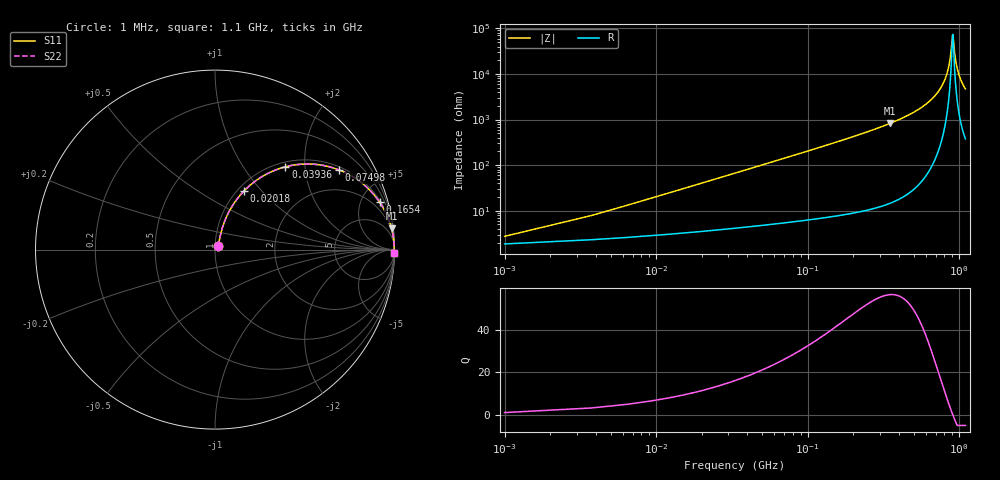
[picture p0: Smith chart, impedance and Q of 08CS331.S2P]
! Coilcraft 0805CS-331 Chip Inductor
! 11 June 2002
# MHZ S MA R 50
!Freq  MagS11  AngS11  MagS21  AngS21  MagS12  AngS12  MagS22  AngS22
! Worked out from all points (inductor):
!   403 points, 1 MHz to 1.1 GHz, reference 50 ohm
!   read as one part in series: L = 320 nH near 6.48 MHz
!   highest Q = 56.7 at 351.7 MHz (marker M1), where L = 376 nH
!   self-resonance near 907.9 MHz
!   S11 on the Smith chart (normalised r, x): 1 MHz: 1.04, +0.04; 20.18 MHz: 1.07, +0.81; 39.36 MHz: 1.09, +1.59; 74.98 MHz: 1.11, +3.04; 165.4 MHz: 1.16, +6.88; 1.1 GHz: 9, -94
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1  0.02697 45.9  0.9814 -1.1  0.9814 -1.1  0.02697 45.9
9.22  0.1795 71.1  0.957 -10.2  0.957 -10.2  0.1795 71.1
14.7  0.277 67.8  0.9314 -16.0  0.9314 -16.0  0.277 67.8
20.18  0.3664 63.6  0.8992 -21.4  0.8992 -21.4  0.3664 63.6
39.36  0.6058 49.6  0.7629 -37.2  0.7629 -37.2  0.6058 49.6
74.98  0.8215 32.7  0.5409 -55.2  0.5409 -55.2  0.8215 32.7
113.34  0.9087 23.1  0.3924 -65.3  0.3924 -65.3  0.9087 23.1
165.4  0.9544 16.1  0.2774 -72.6  0.2774 -72.6  0.9544 16.1
184.58  0.9631 14.4  0.2487 -74.3  0.2487 -74.3  0.9631 14.4
351.72  0.9908 6.8  0.1191 -82.2  0.1191 -82.2  0.9908 6.8
368.16  0.9917 6.4  0.1119 -82.6  0.1119 -82.6  0.9917 6.4
551.74  0.9971 3.2  0.05671 -85.4  0.05671 -85.4  0.9971 3.2
735.32  0.9985 1.3  0.02328 -85.7  0.02328 -85.7  0.9985 1.3
833.96  0.9987 0.5  0.009417 -81.7  0.009417 -81.7  0.9987 0.5
872.32  0.9987 0.3  0.004594 -73.2  0.004594 -73.2  0.9987 0.3
905.2  0.9986 0.0  0.001399 -14.7  0.001399 -14.7  0.9986 0.0
910.68  0.9986 -0.0  0.001393 12.6  0.001393 12.6  0.9986 -0.0
918.9  0.9986 -0.1  0.00188 43.1  0.00188 43.1  0.9986 -0.1
943.56  0.9986 -0.2  0.004413 71.2  0.004413 71.2  0.9986 -0.2
979.18  0.9985 -0.5  0.008368 79.5  0.008368 79.5  0.9985 -0.5
1031.24  0.9983 -0.8  0.01402 82.8  0.01402 82.8  0.9983 -0.8
1100  0.9981 -1.2  0.02114 84.2  0.02114 84.2  0.9981 -1.2
